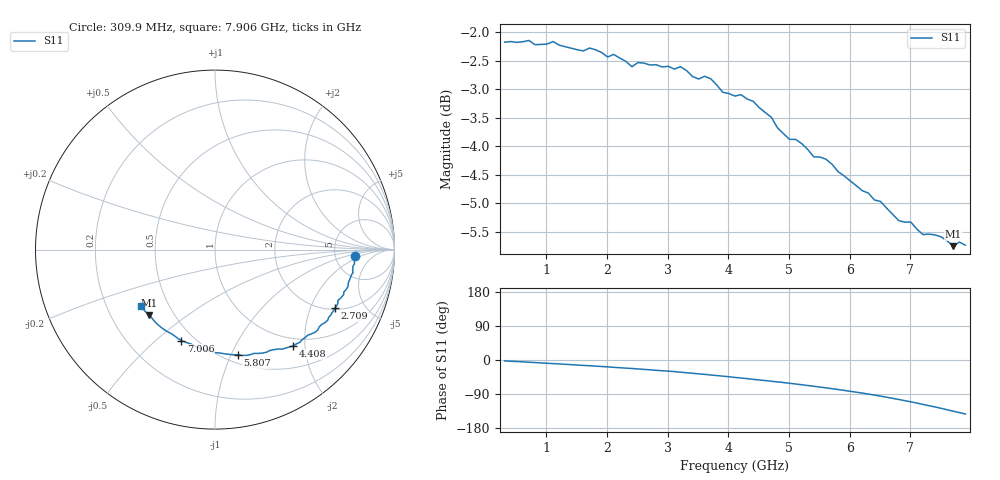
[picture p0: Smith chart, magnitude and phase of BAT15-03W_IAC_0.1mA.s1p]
! Infineon Technologies  Discrete & RF Semiconductors
! BAT15-03W-E6327
! IAC = 0.1 mA
! One-Port S-Parameters
# Hz  S  MA  R  50
!f  S11
!Hz  Mag  Ang
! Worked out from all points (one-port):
!   77 points, 309.9 MHz to 7.906 GHz, reference 50 ohm
!   lowest |S11| = -5.8 dB at 7.706 GHz (marker M1), VSWR 3.13, Z = 18.4 - j18.2 ohm
!   |S11| at or under -10 dB: nowhere
!   S11 on the Smith chart (normalised r, x): 309.9 MHz: 7.81, -1.31; 2.709 GHz: 2.08, -3.02; 4.408 GHz: 0.86, -1.77; 5.807 GHz: 0.58, -1.06; 7.006 GHz: 0.42, -0.61; 7.906 GHz: 0.35, -0.30
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3.0985e8  0.7785 -2.4
1.10945e9  0.7795 -9.5
1.30935e9  0.7714 -11.4
1.70915e9  0.7693 -15.1
2.2089e9  0.7539 -20.4
2.4088e9  0.7409 -22.4
2.50875e9  0.7472 -23.5
2.70865e9  0.7434 -25.9
3.10845e9  0.7373 -30.6
3.2084e9  0.741 -32.1
3.50825e9  0.7227 -36.5
3.6082e9  0.7268 -37.9
4.10795e9  0.6982 -46.0
4.4078e9  0.6909 -51.1
4.70765e9  0.669 -56.0
5.0075e9  0.6397 -61.4
5.10745e9  0.6398 -63.3
5.4073e9  0.6176 -69.4
5.6072e9  0.6147 -73.5
5.8071e9  0.5994 -77.9
6.007e9  0.5884 -82.6
6.50675e9  0.5645 -95.3
6.8066e9  0.543 -104.2
7.0065e9  0.5414 -110.3
7.2064e9  0.5279 -117.2
7.4063e9  0.5276 -124.0
7.70615e9  0.5157 -135.1
7.90605e9  0.5167 -142.6
